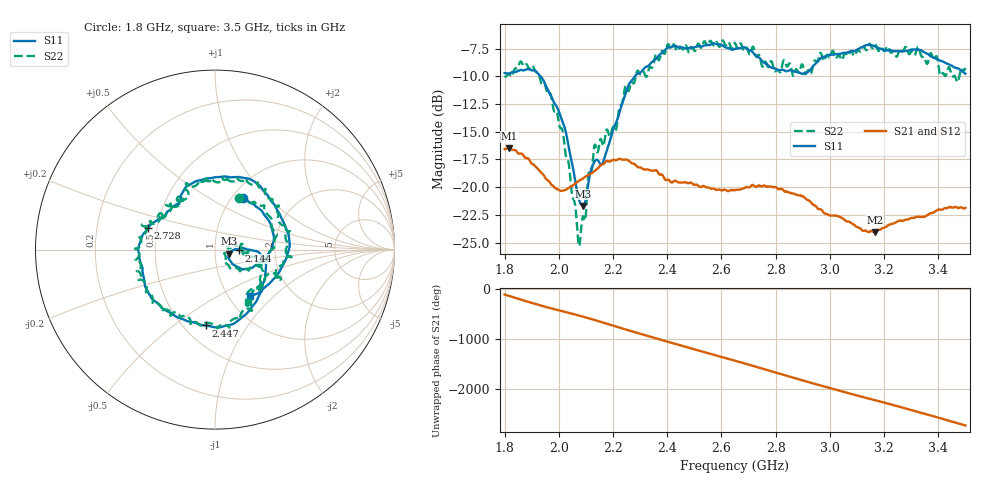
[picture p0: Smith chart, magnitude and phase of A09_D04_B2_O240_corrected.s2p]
! Created with skrf 1.9.0 (http://scikit-rf.org).
# Hz S RI R 50.0
!freq ReS11 ImS11 ReS21 ImS21 ReS12 ImS12 ReS22 ImS22
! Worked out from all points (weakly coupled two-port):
!   1601 points, 1.8 GHz to 3.5 GHz, reference 50 ohm
!   highest |S21| = -16.49 dB at 1.817 GHz (marker M1); lowest = -24.1 dB at 3.165 GHz (marker M2)
!   lowest |S11| = -21.7 dB at 2.09 GHz (marker M3), VSWR 1.18, Z = 58.5 - j2.67 ohm
!   |S11| at or under -10 dB: 1.932 GHz to 2.28 GHz (347.9 MHz wide, 16.5 % of centre)
!   |S22| runs from -25.3 to -6.8 dB; largest |S21 - S12| = 0.0026
!   S11 on the Smith chart (normalised r, x): 1.8 GHz: 1.12, +0.72; 2.144 GHz: 1.30, -0.01; 2.447 GHz: 0.64, -0.66; 2.728 GHz: 0.45, +0.12; 3.5 GHz: 1.25, -0.73
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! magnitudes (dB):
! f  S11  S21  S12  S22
! 1.8 GHz  -9.7  -16.6  -16.6  -10.0
! 1.817 GHz  -9.7  -16.5  -16.5  -9.8
! 1.903 GHz  -9.5  -17.9  -17.9  -9.0
! 1.968 GHz  -11.6  -19.6  -19.6  -11.6
! 2.015 GHz  -14.1  -20.3  -20.3  -15.0
! 2.072 GHz  -20.9  -19.5  -19.5  -25.0
! 2.084 GHz  -21.6  -19.3  -19.2  -23.4
! 2.09 GHz  -21.7  -19.2  -19.2  -22.6
! 2.113 GHz  -19.0  -18.8  -18.8  -18.4
! 2.144 GHz  -17.6  -18.3  -18.3  -16.8
! 2.166 GHz  -17.6  -17.9  -17.9  -16.2
! 2.261 GHz  -10.6  -17.7  -17.7  -11.1
! 2.367 GHz  -8.2  -18.7  -18.7  -8.5
! 2.447 GHz  -7.4  -19.6  -19.6  -7.3
! 2.65 GHz  -7.5  -20.3  -20.2  -7.0
! 2.728 GHz  -8.1  -20.0  -20.0  -8.2
! 2.934 GHz  -9.2  -21.5  -21.4  -9.5
! 3.165 GHz  -7.3  -24.1  -24.0  -7.2
! 3.217 GHz  -7.7  -23.4  -23.4  -7.4
! 3.326 GHz  -7.6  -22.7  -22.6  -7.4
! 3.468 GHz  -9.3  -21.8  -21.8  -10.4
! 3.5 GHz  -9.8  -21.9  -21.8  -9.2
